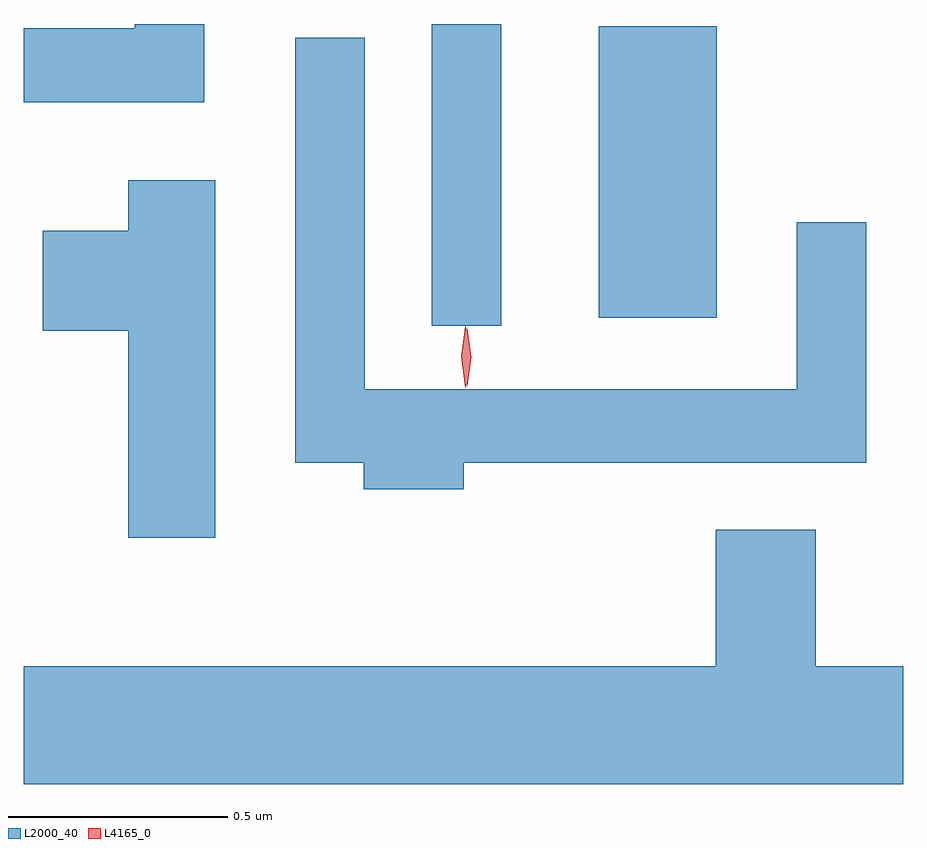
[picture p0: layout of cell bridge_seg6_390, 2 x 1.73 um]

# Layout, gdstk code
import gdstk
lib = gdstk.Library(unit=1e-6, precision=1e-09)
def R(c, l, rs):  # rectangles x0, y0, x1, y1
    for r in rs: c.add(gdstk.rectangle(r[:2], r[2:], *l))
def P(c, l, *ps):  # polygons
    for p in ps: c.add(gdstk.Polygon(p, *l))
L2000_40 = (2000, 40)
L4165_0 = (4165, 0)

bridge_seg6_390 = lib.new_cell('bridge_seg6_390')
R(bridge_seg6_390, L2000_40, [(1328.946,1562.178,1329.104,1562.864), (1329.326,1562.196,1329.594,1562.859)])
P(bridge_seg6_390, L2000_40, [(1328.429,1562.864),(1328.271,1562.864),(1328.271,1562.854),(1328.018,1562.854),(1328.018,1562.686),(1328.429,1562.686)],
  [(1329.019,1561.866),(1329.934,1561.866),(1329.934,1562.413),(1329.776,1562.413),(1329.776,1562.034),(1328.794,1562.034),(1328.794,1562.833),(1328.636,1562.833),(1328.636,1561.866),(1328.791,1561.866),(1328.791,1561.806),(1329.019,1561.806)],
  [(1328.454,1562.509),(1328.256,1562.509),(1328.256,1562.394),(1328.061,1562.394),(1328.061,1562.166),(1328.256,1562.166),(1328.256,1561.696),(1328.454,1561.696)],
  [(1330.018,1561.404),(1329.819,1561.404),(1329.819,1561.714),(1329.591,1561.714),(1329.591,1561.404),(1328.018,1561.404),(1328.018,1561.136),(1330.018,1561.136)])
P(bridge_seg6_390, L4165_0, [(1329.023,1562.037),(1329.022,1562.038),(1329.013,1562.107),(1329.022,1562.176),(1329.023,1562.176),(1329.023,1562.176),(1329.033,1562.107),(1329.023,1562.038)],
  [(1329.026,1562.04),(1329.026,1562.04),(1329.016,1562.106),(1329.026,1562.172),(1329.026,1562.173),(1329.027,1562.172),(1329.036,1562.106),(1329.027,1562.04)])

lib.write_gds('bridge_seg6_390.gds')
